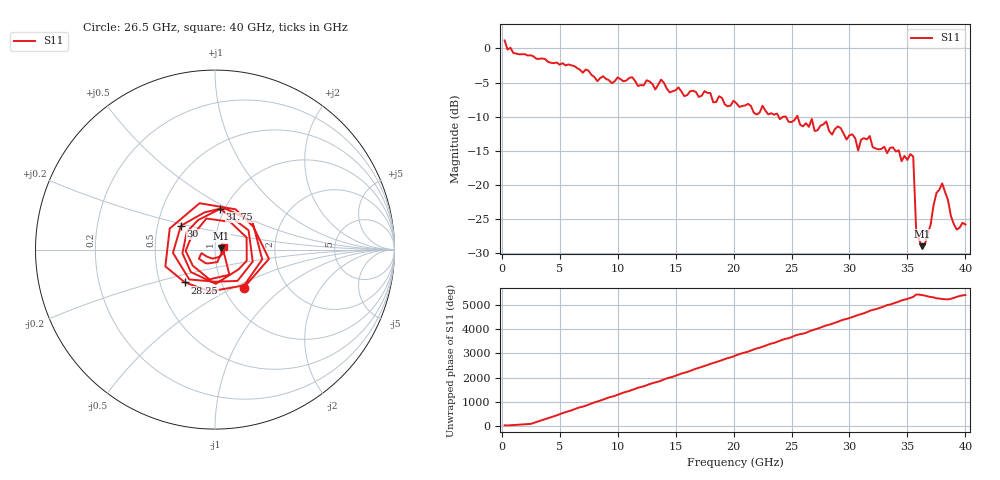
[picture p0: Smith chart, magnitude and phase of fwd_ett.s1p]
!Created with skrf (http://scikit-rf.org).
# GHz S RI R 50.0
!freq ReS11 ImS11
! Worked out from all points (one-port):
!   160 points, 250 MHz to 40 GHz, reference 50 ohm
!   lowest |S11| = -28.9 dB at 36.25 GHz (marker M1), VSWR 1.07, Z = 53.6 + j1.02 ohm
!   |S11| at or under -10 dB: 23.89 GHz to 24.29 GHz (397.2 MHz wide, 1.65 % of centre); 24.52 GHz to 25.45 GHz (931.8 MHz wide, 3.73 % of centre); 25.53 GHz to end of sweep
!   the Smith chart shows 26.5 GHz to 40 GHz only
!   S11 on the Smith chart (normalised r, x): 26.5 GHz: 1.23, -0.57; 28.25 GHz: 0.67, -0.26; 30 GHz: 0.66, +0.19; 31.75 GHz: 0.95, +0.46; 40 GHz: 1.10, +0.03
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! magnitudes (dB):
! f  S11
! 250 MHz  1.2
! 1 GHz  -0.7
! 5.25 GHz  -2.1
! 8.25 GHz  -4.8
! 10.25 GHz  -4.5
! 15.25 GHz  -5.7
! 20.25 GHz  -8.0
! 25.25 GHz  -10.5
! 26.5 GHz  -11.5
! 28 GHz  -10.7
! 28.25 GHz  -12.1
! 30 GHz  -12.7
! 30.25 GHz  -12.6
! 30.75 GHz  -14.9
! 31 GHz  -13.4
! 31.75 GHz  -12.8
! 32 GHz  -14.4
! 33.75 GHz  -14.5
! 34.5 GHz  -16.5
! 35.25 GHz  -15.5
! 35.5 GHz  -15.8
! 35.75 GHz  -26.4
! 36.25 GHz  -28.9
! 37 GHz  -25.8
! 37.5 GHz  -21.2
! 38 GHz  -19.8
! 39.25 GHz  -26.5
! 40 GHz  -25.8
